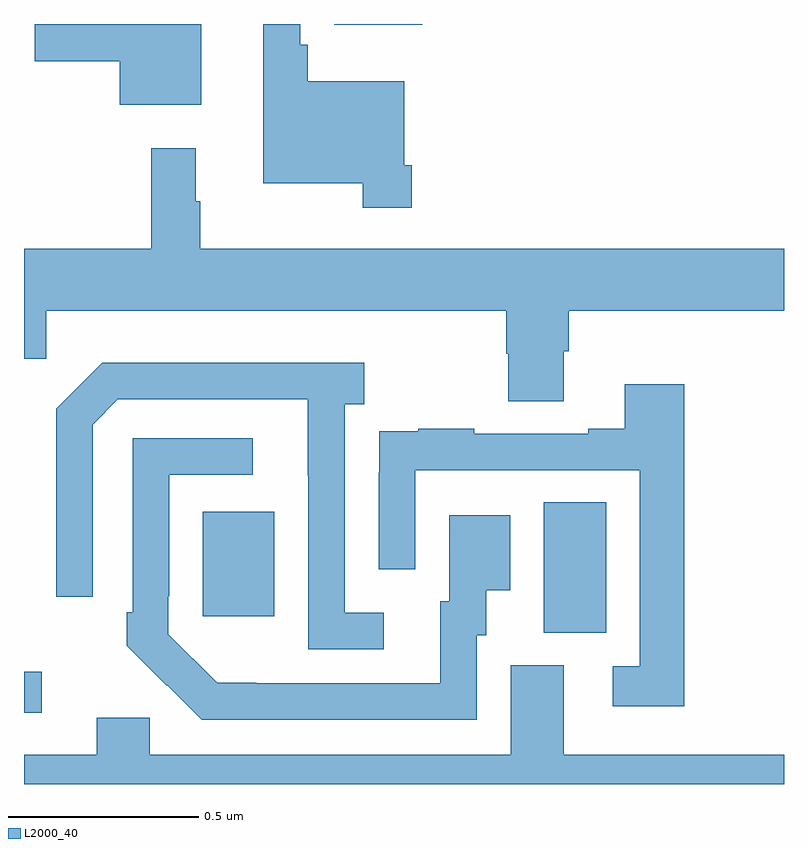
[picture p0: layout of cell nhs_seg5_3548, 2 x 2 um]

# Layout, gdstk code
import gdstk
lib = gdstk.Library(unit=1e-6, precision=1e-09)
def R(c, l, rs):  # rectangles x0, y0, x1, y1
    for r in rs: c.add(gdstk.rectangle(r[:2], r[2:], *l))
def P(c, l, *ps):  # polygons
    for p in ps: c.add(gdstk.Polygon(p, *l))
L2000_40 = (2000, 40)

nhs_seg5_3548 = lib.new_cell('nhs_seg5_3548')
R(nhs_seg5_3548, L2000_40, [(158,904.986,158.047,905.095), (159.368,905.197,159.532,905.54), (158.471,905.241,158.659,905.515), (158.816,906.797,159.048,906.799)])
P(nhs_seg5_3548, L2000_40, [(158.467,906.799),(158.028,906.799),(158.028,906.701),(158.252,906.701),(158.252,906.587),(158.467,906.587)],
  [(159.02,906.427),(159,906.427),(159,906.649),(158.747,906.649),(158.747,906.745),(158.727,906.745),(158.727,906.799),(158.63,906.799),(158.63,906.38),(158.892,906.38),(158.892,906.315),(159.02,906.315)],
  [(159.421,905.938),(159.434,905.938),(159.434,906.044),(160,906.044),(160,906.208),(158.464,906.208),(158.464,906.332),(158.452,906.332),(158.452,906.472),(158.335,906.472),(158.335,906.208),(158,906.208),(158,905.918),(158.058,905.918),(158.058,906.044),(159.269,906.044),(159.269,905.931),(159.274,905.931),(159.274,905.806),(159.421,905.806)],
  [(158.947,905.25),(158.844,905.25),(158.844,905.798),(158.896,905.798),(158.896,905.908),(158.206,905.908),(158.085,905.787),(158.085,905.292),(158.181,905.292),(158.181,905.745),(158.247,905.811),(158.747,905.811),(158.747,905.611),(158.748,905.611),(158.748,905.154),(158.947,905.154)],
  [(159.737,905.851),(159.581,905.851),(159.581,905.734),(159.485,905.734),(159.485,905.721),(159.185,905.721),(159.185,905.734),(159.037,905.734),(159.037,905.727),(158.935,905.727),(158.935,905.618),(158.934,905.618),(158.934,905.364),(159.03,905.364),(159.03,905.625),(159.621,905.625),(159.621,905.109),(159.549,905.109),(159.549,905.004),(159.737,905.004)],
  [(159.192,905.19),(159.217,905.19),(159.217,905.309),(159.28,905.309),(159.28,905.506),(159.119,905.506),(159.119,905.28),(159.095,905.28),(159.095,905.064),(158.611,905.064),(158.611,905.065),(158.508,905.065),(158.379,905.193),(158.379,905.293),(158.382,905.293),(158.382,905.613),(158.602,905.613),(158.602,905.709),(158.286,905.709),(158.286,905.251),(158.271,905.251),(158.271,905.163),(158.376,905.058),(158.377,905.059),(158.468,904.968),(159.192,904.968)],
  [(160,904.876),(159.421,904.876),(159.421,905.112),(159.281,905.112),(159.281,904.876),(158.331,904.876),(158.331,904.974),(158.192,904.974),(158.192,904.876),(158,904.876),(158,904.799),(160,904.799)])

lib.write_gds('nhs_seg5_3548.gds')
